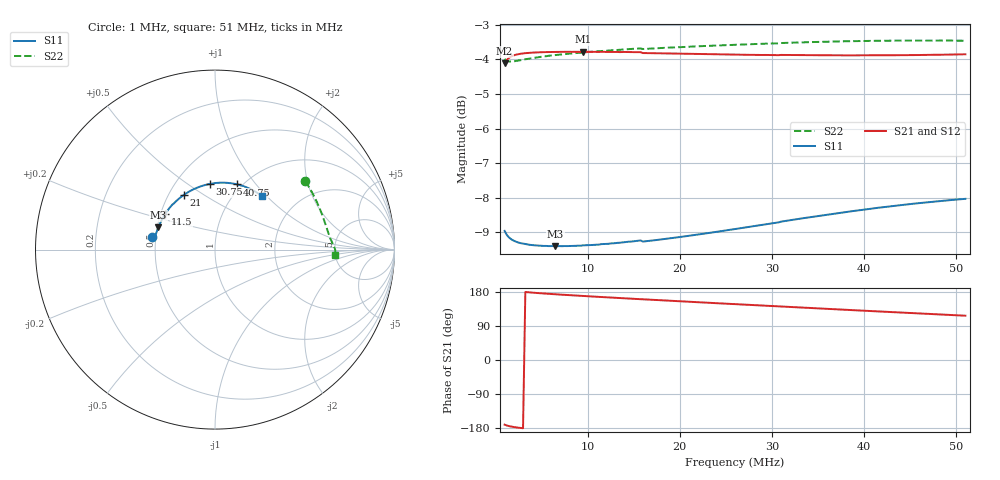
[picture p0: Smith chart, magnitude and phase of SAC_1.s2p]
# MHz S RI R 50
! S-Parameters data
! Freq  reS11  imS11  reS21  imS21  reS12  imS12  reS22  imS22
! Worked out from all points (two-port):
!   201 points, 1 MHz to 51 MHz, reference 50 ohm
!   highest |S21| = -3.78 dB at 9.5 MHz (marker M1); lowest = -4.1 dB at 1 MHz (marker M2)
!   |S21| within 3 dB of the highest: start of sweep to end of sweep
!   lowest |S11| = -9.4 dB at 6.5 MHz (marker M3), VSWR 2.03, Z = 25.3 + j7.1 ohm
!   |S11| at or under -10 dB: nowhere
!   |S22| runs from -4.1 to -3.5 dB; largest |S21 - S12| = 0.001
!   S11 on the Smith chart (normalised r, x): 1 MHz: 0.48, +0.08; 11.5 MHz: 0.53, +0.24; 21 MHz: 0.60, +0.42; 30.75 MHz: 0.73, +0.61; 40.75 MHz: 0.95, +0.81; 51 MHz: 1.33, +0.94
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1  -0.3499 0.069  -0.6149 -0.1016  -0.6151 -0.1018  0.5041 0.381
1.25  -0.3456 0.0652  -0.6255 -0.0781  -0.626 -0.0784  0.5409 0.3187
1.5  -0.3428 0.0637  -0.6317 -0.0604  -0.6323 -0.0607  0.5633 0.2743
1.75  -0.3407 0.0639  -0.6357 -0.0464  -0.6365 -0.0466  0.5782 0.2413
2.25  -0.3375 0.0667  -0.6405 -0.0244  -0.6412 -0.0247  0.5965 0.1953
2.75  -0.3348 0.0716  -0.6429 -0.00739  -0.6436 -0.0076  0.6073 0.1651
3.5  -0.3311 0.0807  -0.6445 0.013  -0.6452 0.0128  0.6173 0.135
4.25  -0.3275 0.091  -0.6449 0.0306  -0.6455 0.0303  0.6238 0.115
5.25  -0.3224 0.1055  -0.6444 0.051  -0.6451 0.0508  0.6297 0.0967
6.5  -0.3155 0.124  -0.6426 0.074  -0.6434 0.0737  0.6349 0.0816
9.5  -0.2951 0.1686  -0.6353 0.1236  -0.6359 0.1234  0.6428 0.0603
11.5  -0.2785 0.1973  -0.6284 0.1546  -0.6291 0.1541  0.6467 0.0515
15.5  -0.2387 0.2495  -0.6107 0.212  -0.6112 0.212  0.6528 0.0397
17.75  -0.2124 0.2736  -0.5969 0.2418  -0.5972 0.2413  0.6541 0.035
21  -0.1711 0.3064  -0.5764 0.2844  -0.5767 0.2839  0.6575 0.0283
26  -0.1007 0.3444  -0.54 0.3456  -0.5404 0.3452  0.6621 0.019
30.75  -0.029 0.3658  -0.5003 0.3989  -0.5008 0.3985  0.6656 0.0104
34.5  0.0295 0.3728  -0.4661 0.4385  -0.4665 0.4379  0.6684 0.00317
40.75  0.1247 0.3631  -0.4038 0.4961  -0.4043 0.4955  0.6709 -0.0087
42.75  0.1539 0.3549  -0.3826 0.5126  -0.3831 0.512  0.6714 -0.0128
46.75  0.2094 0.3316  -0.3389 0.5434  -0.3394 0.5427  0.6715 -0.0212
51  0.2628 0.2972  -0.2903 0.5723  -0.291 0.5716  0.6707 -0.0302
